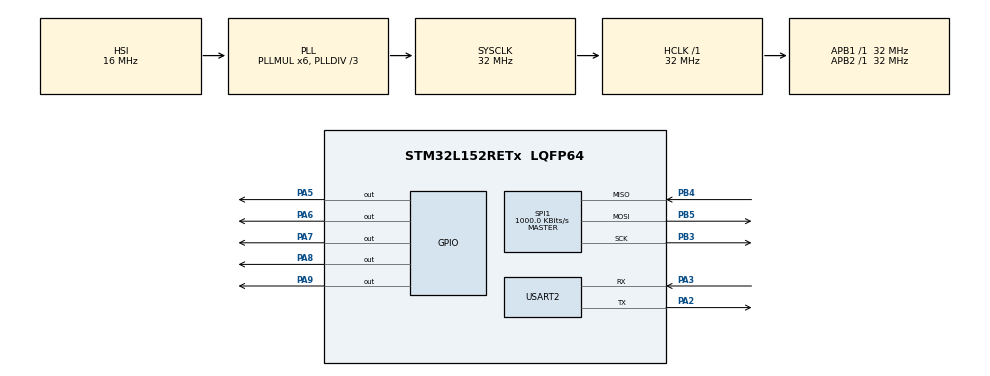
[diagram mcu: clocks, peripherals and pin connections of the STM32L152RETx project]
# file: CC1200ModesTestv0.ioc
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Mcu.Family=STM32L1
Mcu.Name=STM32L152RETx
Mcu.Package=LQFP64
NVIC.PriorityGroup=NVIC_PRIORITYGROUP_0
PA2.Mode=Asynchronous
PA2.Signal=USART2_TX
PA3.Mode=Asynchronous
PA3.Signal=USART2_RX
PA5.Signal=GPIO_Output
PA6.Signal=GPIO_Output
PA7.Signal=GPIO_Output
PA8.Signal=GPIO_Output
PA9.Signal=GPIO_Output
PB3.Mode=Full_Duplex_Master
PB3.Signal=SPI1_SCK
PB4.Mode=Full_Duplex_Master
PB4.Signal=SPI1_MISO
PB5.Mode=Full_Duplex_Master
PB5.Signal=SPI1_MOSI
ProjectManager.HeapSize=0x200
ProjectManager.StackSize=0x400
ProjectManager.TargetToolchain=MDK-ARM V5
RCC.48MHZClocksFreq_Value=48000000
RCC.AHBFreq_Value=32000000
RCC.APB1Freq_Value=32000000
RCC.APB1TimFreq_Value=32000000
RCC.APB2Freq_Value=32000000
RCC.APB2TimFreq_Value=32000000
RCC.HCLKFreq_Value=32000000
RCC.HSE_VALUE=8000000
RCC.HSI_VALUE=16000000
RCC.LSE_VALUE=32768
RCC.MSI_VALUE=2097000
RCC.PLLDIV=RCC_PLL_DIV3
RCC.PLLMUL=RCC_PLL_MUL6
RCC.RTCClockSelectionVirtual=RCC_RTCCLKSOURCE_LSE
RCC.SYSCLKFreq_VALUE=32000000
RCC.SYSCLKSource=RCC_SYSCLKSOURCE_PLLCLK
RCC.USBOutput=48000000
RCC.VCOOutputFreq_Value=96000000
SPI1.BaudRatePrescaler=SPI_BAUDRATEPRESCALER_32
SPI1.CalculateBaudRate=1000.0 KBits/s
SPI1.Direction=SPI_DIRECTION_2LINES
SPI1.Mode=SPI_MODE_MASTER
SPI1.VirtualType=VM_MASTER
USART2.VirtualMode=VM_ASYNC
board=NUCLEO-L152RE

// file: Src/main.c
/* USER CODE BEGIN Header */
/**
  ******************************************************************************
  * @file           : main.c
  * @brief          : Main program body
  ******************************************************************************
  ** This notice applies to any and all portions of this file
  * that are not between comment pairs USER CODE BEGIN and
  * USER CODE END. Other portions of this file, whether
  * inserted by the user or by software development tools
  * are owned by their respective copyright owners.
  *
  * COPYRIGHT(c) 2019 STMicroelectronics
  *
  * Redistribution and use in source and binary forms, with or without modification,
  * are permitted provided that the following conditions are met:
  *   1. Redistributions of source code must retain the above copyright notice,
  *      this list of conditions and the following disclaimer.
  *   2. Redistributions in binary form must reproduce the above copyright notice,
  *      this list of conditions and the following disclaimer in the documentation
  *      and/or other materials provided with the distribution.
  *   3. Neither the name of STMicroelectronics nor the names of its contributors
  *      may be used to endorse or promote products derived from this software
  *      without specific prior written permission.
  *
  * THIS SOFTWARE IS PROVIDED BY THE COPYRIGHT HOLDERS AND CONTRIBUTORS "AS IS"
  * AND ANY EXPRESS OR IMPLIED WARRANTIES, INCLUDING, BUT NOT LIMITED TO, THE
  * IMPLIED WARRANTIES OF MERCHANTABILITY AND FITNESS FOR A PARTICULAR PURPOSE ARE
  * DISCLAIMED. IN NO EVENT SHALL THE COPYRIGHT HOLDER OR CONTRIBUTORS BE LIABLE
  * FOR ANY DIRECT, INDIRECT, INCIDENTAL, SPECIAL, EXEMPLARY, OR CONSEQUENTIAL
  * DAMAGES (INCLUDING, BUT NOT LIMITED TO, PROCUREMENT OF SUBSTITUTE GOODS OR
  * SERVICES; LOSS OF USE, DATA, OR PROFITS; OR BUSINESS INTERRUPTION) HOWEVER
  * CAUSED AND ON ANY THEORY OF LIABILITY, WHETHER IN CONTRACT, STRICT LIABILITY,
  * OR TORT (INCLUDING NEGLIGENCE OR OTHERWISE) ARISING IN ANY WAY OUT OF THE USE
  * OF THIS SOFTWARE, EVEN IF ADVISED OF THE POSSIBILITY OF SUCH DAMAGE.
  *
  ******************************************************************************
  */
/* USER CODE END Header */

#include "main.h"

/* USER CODE BEGIN Includes */

#include "string.h"
#include "CC1200_reg.h"
#include "smartrf_CC1200.h"

/* USER CODE END Includes */

SPI_HandleTypeDef hspi1;

UART_HandleTypeDef huart2;

void SystemClock_Config(void);
static void MX_GPIO_Init(void);
static void MX_SPI1_Init(void);
static void MX_USART2_UART_Init(void);
/* USER CODE BEGIN PFP */

void trxRfSpiInterfaceInit(uint8_t prescalerValue);
uint8_t trx8BitRegAccess(uint8_t accessType, uint8_t addrByte, uint8_t *pData, int len);
uint8_t ReadWriteExtendedReg (uint8_t accessType, uint16_t address, uint8_t value);
uint8_t ReadWriteCommandReg (uint8_t address);
void CC1200_INIT(void);

/* USER CODE END PFP */

int main(void)
{

  /* MCU Configuration--------------------------------------------------------*/

  /* Reset of all peripherals, Initializes the Flash interface and the Systick. */
  HAL_Init();

  /* Configure the system clock */
  SystemClock_Config();

  /* Initialize all configured peripherals */
  MX_GPIO_Init();
  MX_SPI1_Init();
  MX_USART2_UART_Init();
  /* USER CODE BEGIN 2 */

	/* Start CC1200 SPI Test Harness
	 *
	 * Wiring:
	 * Reset -- D7 (PA8)
	 * CSN   -- D8 (PA9)
	 * SCLK  -- D3 (PB3)
	 * MOSI  -- D4 (PB5)
	 * MISO  -- D5 (PB4)
	 */

	//Set CS high
	HAL_GPIO_WritePin(GPIOA, GPIO_PIN_9, GPIO_PIN_SET);

	//Set reset high, low, high to begin
	HAL_GPIO_WritePin(GPIOA, GPIO_PIN_8, GPIO_PIN_SET);
	HAL_Delay(10);
	HAL_GPIO_WritePin(GPIOA, GPIO_PIN_8, GPIO_PIN_RESET);
	HAL_Delay(10);
	HAL_GPIO_WritePin(GPIOA, GPIO_PIN_8, GPIO_PIN_SET);
	HAL_Delay(10);

	///////////////////////////////////////////////////////////////////////
	// Start the test
	///////////////////////////////////////////////////////////////////////
	uint16_t address = 0x2F02;
	uint8_t value = 0xa;
	uint8_t readValue;
	char Msg1[100] = {0};
	char Msg2[100] = {0};

	//readValue = ReadWriteCommandReg(CC1200_SRES); // Flush tx fifo
	//HAL_Delay(500);

	snprintf((char *)Msg1, sizeof(Msg1), "\n\nSTARTING THE TRANSCEIVER TEST\n\n");
	HAL_UART_Transmit(&huart2, (uint8_t *) Msg1, sizeof(Msg1), 1);
	memcpy(Msg1, Msg2, 100);

	///////////////////////////////////////////////////////////////////////
  // Test reading and writing to a configuration register
	///////////////////////////////////////////////////////////////////////
	// Read initial reg value
  readValue = ReadWriteExtendedReg (CC1200_READ_BIT, address, value);

	snprintf((char *)Msg1, sizeof(Msg1), "\r\nTest: read from register 0x%x: 0x%x\r\n", address, readValue);
	HAL_UART_Transmit(&huart2, (uint8_t *) Msg1, sizeof(Msg1), 1);

	// Write to register
  readValue = ReadWriteExtendedReg (CC1200_WRITE_BIT, address, value);

	// Read new value
	readValue = ReadWriteExtendedReg (CC1200_READ_BIT, address, value);

	snprintf((char *)Msg1, sizeof(Msg1), "\r\nTest: read from register 0x%x after writing to the register: 0x%x\r\n", address, readValue);
	HAL_UART_Transmit(&huart2, (uint8_t *) Msg1, sizeof(Msg1), 1);

	///////////////////////////////////////////////////////////////////////
	// Test command strobes
	///////////////////////////////////////////////////////////////////////
  memcpy(Msg1, Msg2, 100);
	snprintf((char *)Msg1, sizeof(Msg1), "\r\nMode Test Expected Bytes: transmit 0x2F, idle 0x0F, receive 0x1F\r\n");
	HAL_UART_Transmit(&huart2, (uint8_t *) Msg1, sizeof(Msg1), 1);

	readValue = ReadWriteCommandReg(CC1200_SFTX); // Flush tx fifo
	HAL_Delay(10);
	readValue = ReadWriteCommandReg(CC1200_SFRX); // Flush RXfifo
	HAL_Delay(10);
	readValue = ReadWriteCommandReg(CC1200_SNOP); // Seems to need HAL_Delay and a NOP to produce the correct status bit
	//HAL_Delay(1000);

	readValue = 0;
	readValue = ReadWriteCommandReg(CC1200_SIDLE); // Idle
	HAL_Delay(10);
	readValue = ReadWriteCommandReg(CC1200_SNOP); // Seems to need HAL_Delay and a NOP to produce the correct status bit

	memcpy(Msg1, Msg2, 100);
	snprintf((char *)Msg1, sizeof(Msg1), "\r\nMode Test: switch to idle: 0x%02x\r\n", readValue);
	HAL_UART_Transmit(&huart2, (uint8_t *) Msg1, sizeof(Msg1), 1);

	readValue = 0;
	HAL_GPIO_WritePin(GPIOA, GPIO_PIN_7, GPIO_PIN_RESET);
	//HAL_GPIO_WritePin(GPIOA, GPIO_PIN_6, GPIO_PIN_RESET);
	readValue = ReadWriteCommandReg(CC1200_STX); // Transmit
	HAL_Delay(10);
	readValue = ReadWriteCommandReg(CC1200_SNOP); // Seems to need HAL_Delay and a NOP to produce the correct status bit

	memcpy(Msg1, Msg2, 100);
	snprintf((char *)Msg1, sizeof(Msg1), "\r\nMode Test: switch to transmit: 0x%02x\r\n", readValue);
	HAL_UART_Transmit(&huart2, (uint8_t *) Msg1, sizeof(Msg1), 1);

//	HAL_GPIO_WritePin(GPIOA, GPIO_PIN_7, GPIO_PIN_RESET);
//	readValue = 0;
//	readValue = ReadWriteCommandReg(CC1200_SRX); // Recieve
//	HAL_Delay(10);
//	readValue = ReadWriteCommandReg(CC1200_SNOP); // Seems to need HAL_Delay and a NOP to produce the correct status bit
//	memcpy(Msg1, Msg2, 100);
//	snprintf((char *)Msg1, sizeof(Msg1), "\r\nMode Test: receive status byte: 0x%x\r\n", readValue);
//	HAL_UART_Transmit(&huart2, (uint8_t *) Msg1, sizeof(Msg1), 1);

	///////////////////////////////////////////////////////////////////////
	// Configure all registers
	///////////////////////////////////////////////////////////////////////
	//HAL_Delay(100);
	CC1200_INIT();
	//HAL_Delay(100);

	// Check a register
	address = CC1200_AGC_CFG0;
  readValue = ReadWriteExtendedReg (CC1200_READ_BIT, address, value);

	memcpy(Msg1, Msg2, 100);
	snprintf((char *)Msg1, sizeof(Msg1), "\r\nTest: read from register 0x%x: 0x%x\r\n", address, readValue);
	HAL_UART_Transmit(&huart2, (uint8_t *) Msg1, sizeof(Msg1), 1);

	// Check a register
	address = CC1200_AGC_CFG1;
	uint8_t randRead = ReadWriteExtendedReg (CC1200_READ_BIT, address, value);

	memcpy(Msg1, Msg2, 100);
	snprintf((char *)Msg1, sizeof(Msg1), "\r\nTest: read from register 0x%x: 0x%x\r\n", address, randRead);
	HAL_UART_Transmit(&huart2, (uint8_t *) Msg1, sizeof(Msg1), 1);

	///////////////////////////////////////////////////////////////////////
	// Test: send a packet continuously and receive with the dev board
	///////////////////////////////////////////////////////////////////////

	readValue = 0;
	//address = 0x00;
	address = CC1200_TXFIFO;
	uint32_t sendAmt = 100;
	for(int i = 0; i < sendAmt; i++)
	{
		ReadWriteExtendedReg(CC1200_WRITE_BIT, address, i);
		HAL_Delay(1);

		readValue = ReadWriteCommandReg(CC1200_SNOP); // Seems to need HAL_Delay and a NOP to produce the correct status bit
		memcpy(Msg1, Msg2, 100);
		snprintf((char *)Msg1, sizeof(Msg1), "\nCommand strobe state: 0x%02x\n", readValue);
		HAL_UART_Transmit(&huart2, (uint8_t *) Msg1, sizeof(Msg1), 1);
		if (readValue == 0x0f)
		{
			HAL_Delay(1);
			ReadWriteCommandReg(CC1200_STX);
			HAL_Delay(1);
		}
	}

	readValue = ReadWriteExtendedReg(CC1200_READ_BIT, address, readValue);
	memcpy(Msg1, Msg2, 100);
	snprintf((char *)Msg1, sizeof(Msg1), "\nValue at register 0x%02x should be %u, is: %u\n", address, sendAmt - 1 , readValue);
	HAL_UART_Transmit(&huart2, (uint8_t *) Msg1, sizeof(Msg1), 1);

	memcpy(Msg1, Msg2, 100);
	snprintf((char *)Msg1, sizeof(Msg1), "\n\nEND OF TRANSCEIVER TEST %x\n", readValue);
	HAL_UART_Transmit(&huart2, (uint8_t *) Msg1, sizeof(Msg1), 1);
  /* USER CODE END 2 */

  /* Infinite loop */
  while (1)
  {

  }
}

void SystemClock_Config(void)
{
  RCC_OscInitTypeDef RCC_OscInitStruct = {0};
  RCC_ClkInitTypeDef RCC_ClkInitStruct = {0};

  /**Configure the main internal regulator output voltage
  */
  __HAL_PWR_VOLTAGESCALING_CONFIG(PWR_REGULATOR_VOLTAGE_SCALE1);
  /**Initializes the CPU, AHB and APB busses clocks
  */
  RCC_OscInitStruct.OscillatorType = RCC_OSCILLATORTYPE_HSI;
  RCC_OscInitStruct.HSIState = RCC_HSI_ON;
  RCC_OscInitStruct.HSICalibrationValue = RCC_HSICALIBRATION_DEFAULT;
  RCC_OscInitStruct.PLL.PLLState = RCC_PLL_ON;
  RCC_OscInitStruct.PLL.PLLSource = RCC_PLLSOURCE_HSI;
  RCC_OscInitStruct.PLL.PLLMUL = RCC_PLL_MUL6;
  RCC_OscInitStruct.PLL.PLLDIV = RCC_PLL_DIV3;
  if (HAL_RCC_OscConfig(&RCC_OscInitStruct) != HAL_OK)
  {
    Error_Handler();
  }
  /**Initializes the CPU, AHB and APB busses clocks
  */
  RCC_ClkInitStruct.ClockType = RCC_CLOCKTYPE_HCLK|RCC_CLOCKTYPE_SYSCLK
                              |RCC_CLOCKTYPE_PCLK1|RCC_CLOCKTYPE_PCLK2;
  RCC_ClkInitStruct.SYSCLKSource = RCC_SYSCLKSOURCE_PLLCLK;
  RCC_ClkInitStruct.AHBCLKDivider = RCC_SYSCLK_DIV1;
  RCC_ClkInitStruct.APB1CLKDivider = RCC_HCLK_DIV1;
  RCC_ClkInitStruct.APB2CLKDivider = RCC_HCLK_DIV1;

  if (HAL_RCC_ClockConfig(&RCC_ClkInitStruct, FLASH_LATENCY_1) != HAL_OK)
  {
    Error_Handler();
  }
}

static void MX_SPI1_Init(void)
{

  /* SPI1 parameter configuration*/
  hspi1.Instance = SPI1;
  hspi1.Init.Mode = SPI_MODE_MASTER;
  hspi1.Init.Direction = SPI_DIRECTION_2LINES;
  hspi1.Init.DataSize = SPI_DATASIZE_8BIT;
  hspi1.Init.CLKPolarity = SPI_POLARITY_LOW;
  hspi1.Init.CLKPhase = SPI_PHASE_1EDGE;
  hspi1.Init.NSS = SPI_NSS_SOFT;
  hspi1.Init.BaudRatePrescaler = SPI_BAUDRATEPRESCALER_32;
  hspi1.Init.FirstBit = SPI_FIRSTBIT_MSB;
  hspi1.Init.TIMode = SPI_TIMODE_DISABLE;
  hspi1.Init.CRCCalculation = SPI_CRCCALCULATION_DISABLE;
  hspi1.Init.CRCPolynomial = 10;
  if (HAL_SPI_Init(&hspi1) != HAL_OK)
  {
    Error_Handler();
  }

}

static void MX_USART2_UART_Init(void)
{

  huart2.Instance = USART2;
  huart2.Init.BaudRate = 115200;
  huart2.Init.WordLength = UART_WORDLENGTH_8B;
  huart2.Init.StopBits = UART_STOPBITS_1;
  huart2.Init.Parity = UART_PARITY_NONE;
  huart2.Init.Mode = UART_MODE_TX_RX;
  huart2.Init.HwFlowCtl = UART_HWCONTROL_NONE;
  huart2.Init.OverSampling = UART_OVERSAMPLING_16;
  if (HAL_UART_Init(&huart2) != HAL_OK)
  {
    Error_Handler();
  }

}

static void MX_GPIO_Init(void)
{
  GPIO_InitTypeDef GPIO_InitStruct = {0};

  /* GPIO Ports Clock Enable */
  __HAL_RCC_GPIOA_CLK_ENABLE();
  __HAL_RCC_GPIOB_CLK_ENABLE();

  /*Configure GPIO pin Output Level */
  HAL_GPIO_WritePin(GPIOA, GPIO_PIN_5|GPIO_PIN_6|GPIO_PIN_7|GPIO_PIN_8
                          |GPIO_PIN_9, GPIO_PIN_RESET);

  /*Configure GPIO pins : PA5 PA6 PA7 PA8
                           PA9 */
  GPIO_InitStruct.Pin = GPIO_PIN_5|GPIO_PIN_6|GPIO_PIN_7|GPIO_PIN_8
                          |GPIO_PIN_9;
  GPIO_InitStruct.Mode = GPIO_MODE_OUTPUT_PP;
  GPIO_InitStruct.Pull = GPIO_NOPULL;
  GPIO_InitStruct.Speed = GPIO_SPEED_FREQ_LOW;
  HAL_GPIO_Init(GPIOA, &GPIO_InitStruct);

}

/* USER CODE BEGIN 4 */

uint8_t ReadWriteExtendedReg (uint8_t accessType, uint16_t address, uint8_t value)
{
	// Chip select low
	HAL_GPIO_WritePin(GPIOA, GPIO_PIN_9, GPIO_PIN_RESET);

	uint8_t addrHI = address>>8;
	uint8_t addrLO = (uint8_t) address;
	uint8_t readValue = 0;

	if(accessType) { 	// Read from address

		if (addrHI)
		{
			addrHI |= CC1200_READ_BIT;
			HAL_SPI_Transmit(&hspi1,&addrHI, 1, 10);	// Access address
			while (HAL_SPI_GetState(&hspi1) != HAL_SPI_STATE_READY){};
			HAL_SPI_Transmit(&hspi1,&addrLO, 1, 10);
		}
		else
		{
			addrLO |= CC1200_READ_BIT;
			HAL_SPI_Transmit(&hspi1,&addrLO, 1, 10);
			while (HAL_SPI_GetState(&hspi1) != HAL_SPI_STATE_READY){};
		}
		HAL_SPI_Transmit(&hspi1,0x0, 1, 10); // Transmit 0 for read
		HAL_SPI_Receive(&hspi1, &readValue, 1, 10); // Read value

	} else { // Write to address

		addrHI |= CC1200_WRITE_BIT;

		if (addrHI)
		{
			HAL_SPI_Transmit(&hspi1,&addrHI, 1, 10);	// Access address
			while (HAL_SPI_GetState(&hspi1) != HAL_SPI_STATE_READY){};
		}
		HAL_SPI_Transmit(&hspi1,&addrLO, 1, 10);
		while (HAL_SPI_GetState(&hspi1) != HAL_SPI_STATE_READY){};

		HAL_SPI_Transmit(&hspi1, &value, 1, 10);		// Write value
	}

	// Chip select high
	HAL_GPIO_WritePin(GPIOA, GPIO_PIN_9, GPIO_PIN_SET);

	return readValue;
}

uint8_t ReadWriteCommandReg (uint8_t address)
{
	// Chip select low
	HAL_GPIO_WritePin(GPIOA, GPIO_PIN_9, GPIO_PIN_RESET);

  uint8_t readValue  = 0;

	HAL_SPI_Transmit(&hspi1,&address, 1, 10);
	while (HAL_SPI_GetState(&hspi1) != HAL_SPI_STATE_READY){};
	HAL_SPI_Receive(&hspi1, &readValue, 1, 10);

	// Chip select high
	HAL_GPIO_WritePin(GPIOA, GPIO_PIN_9, GPIO_PIN_SET);

	return readValue;
}

void CC1200_INIT(void)
{
	ReadWriteExtendedReg(CC1200_WRITE_BIT, CC1200_IOCFG2, SMARTRF_SETTING_IOCFG2);
	ReadWriteExtendedReg(CC1200_WRITE_BIT, CC1200_DEVIATION_M, SMARTRF_SETTING_DEVIATION_M);
	ReadWriteExtendedReg(CC1200_WRITE_BIT, CC1200_MODCFG_DEV_E, SMARTRF_SETTING_MODCFG_DEV_E);
	ReadWriteExtendedReg(CC1200_WRITE_BIT, CC1200_DCFILT_CFG, SMARTRF_SETTING_DCFILT_CFG);
	ReadWriteExtendedReg(CC1200_WRITE_BIT, CC1200_PREAMBLE_CFG0, SMARTRF_SETTING_PREAMBLE_CFG0);
	ReadWriteExtendedReg(CC1200_WRITE_BIT, CC1200_IQIC, SMARTRF_SETTING_IQIC);
	ReadWriteExtendedReg(CC1200_WRITE_BIT, CC1200_CHAN_BW, SMARTRF_SETTING_CHAN_BW);
	ReadWriteExtendedReg(CC1200_WRITE_BIT, CC1200_MDMCFG1, SMARTRF_SETTING_MDMCFG1);
	ReadWriteExtendedReg(CC1200_WRITE_BIT, CC1200_MDMCFG0, SMARTRF_SETTING_MDMCFG0);
	ReadWriteExtendedReg(CC1200_WRITE_BIT, CC1200_SYMBOL_RATE2, SMARTRF_SETTING_SYMBOL_RATE2);
	ReadWriteExtendedReg(CC1200_WRITE_BIT, CC1200_SYMBOL_RATE1, SMARTRF_SETTING_SYMBOL_RATE1);
	ReadWriteExtendedReg(CC1200_WRITE_BIT, CC1200_SYMBOL_RATE0, SMARTRF_SETTING_SYMBOL_RATE0);
	ReadWriteExtendedReg(CC1200_WRITE_BIT, CC1200_AGC_REF, SMARTRF_SETTING_AGC_REF);
	ReadWriteExtendedReg(CC1200_WRITE_BIT, CC1200_AGC_CS_THR, SMARTRF_SETTING_AGC_CS_THR);
	ReadWriteExtendedReg(CC1200_WRITE_BIT, CC1200_AGC_CFG1, SMARTRF_SETTING_AGC_CFG1);
	ReadWriteExtendedReg(CC1200_WRITE_BIT, CC1200_AGC_CFG0, SMARTRF_SETTING_AGC_CFG0);
	ReadWriteExtendedReg(CC1200_WRITE_BIT, CC1200_FIFO_CFG, SMARTRF_SETTING_FIFO_CFG);
	ReadWriteExtendedReg(CC1200_WRITE_BIT, CC1200_FS_CFG, SMARTRF_SETTING_FS_CFG);
	ReadWriteExtendedReg(CC1200_WRITE_BIT, CC1200_PKT_CFG2, SMARTRF_SETTING_PKT_CFG2);
	ReadWriteExtendedReg(CC1200_WRITE_BIT, CC1200_PKT_CFG0, SMARTRF_SETTING_PKT_CFG0);
	ReadWriteExtendedReg(CC1200_WRITE_BIT, CC1200_PKT_LEN, SMARTRF_SETTING_PKT_LEN);
	ReadWriteExtendedReg(CC1200_WRITE_BIT, CC1200_IF_MIX_CFG, SMARTRF_SETTING_IF_MIX_CFG);
	ReadWriteExtendedReg(CC1200_WRITE_BIT, CC1200_FREQOFF_CFG, SMARTRF_SETTING_FREQOFF_CFG);
	ReadWriteExtendedReg(CC1200_WRITE_BIT, CC1200_MDMCFG2, SMARTRF_SETTING_MDMCFG2);
	ReadWriteExtendedReg(CC1200_WRITE_BIT, CC1200_FREQ2, SMARTRF_SETTING_FREQ2);
	ReadWriteExtendedReg(CC1200_WRITE_BIT, CC1200_FREQ1, SMARTRF_SETTING_FREQ1);
	ReadWriteExtendedReg(CC1200_WRITE_BIT, CC1200_FREQ0, SMARTRF_SETTING_FREQ0);
	ReadWriteExtendedReg(CC1200_WRITE_BIT, CC1200_IF_ADC1, SMARTRF_SETTING_IF_ADC1);
	ReadWriteExtendedReg(CC1200_WRITE_BIT, CC1200_IF_ADC0, SMARTRF_SETTING_IF_ADC0);
	ReadWriteExtendedReg(CC1200_WRITE_BIT, CC1200_FS_DIG1, SMARTRF_SETTING_FS_DIG1);
	ReadWriteExtendedReg(CC1200_WRITE_BIT, CC1200_FS_DIG0, SMARTRF_SETTING_FS_DIG0);
	ReadWriteExtendedReg(CC1200_WRITE_BIT, CC1200_FS_CAL1, SMARTRF_SETTING_FS_CAL1);
	ReadWriteExtendedReg(CC1200_WRITE_BIT, CC1200_FS_CAL0, SMARTRF_SETTING_FS_CAL0);
	ReadWriteExtendedReg(CC1200_WRITE_BIT, CC1200_FS_DIVTWO, SMARTRF_SETTING_FS_DIVTWO);
	ReadWriteExtendedReg(CC1200_WRITE_BIT, CC1200_FS_DSM0, SMARTRF_SETTING_FS_DSM0);
	ReadWriteExtendedReg(CC1200_WRITE_BIT, CC1200_FS_DVC0, SMARTRF_SETTING_FS_DVC0);
	ReadWriteExtendedReg(CC1200_WRITE_BIT, CC1200_FS_PFD, SMARTRF_SETTING_FS_PFD);
	ReadWriteExtendedReg(CC1200_WRITE_BIT, CC1200_FS_PRE, SMARTRF_SETTING_FS_PRE);
	ReadWriteExtendedReg(CC1200_WRITE_BIT, CC1200_FS_REG_DIV_CML, SMARTRF_SETTING_FS_REG_DIV_CML);
	ReadWriteExtendedReg(CC1200_WRITE_BIT, CC1200_FS_SPARE, SMARTRF_SETTING_FS_SPARE);
	ReadWriteExtendedReg(CC1200_WRITE_BIT, CC1200_FS_VCO0, SMARTRF_SETTING_FS_VCO0);
	ReadWriteExtendedReg(CC1200_WRITE_BIT, CC1200_XOSC5, SMARTRF_SETTING_XOSC5);
	ReadWriteExtendedReg(CC1200_WRITE_BIT, CC1200_XOSC1, SMARTRF_SETTING_XOSC1);
}

////////////////////////////// TI Reference Code, Not currently being used/////////////////////
static void trxReadWriteBurstSingle(uint8_t addr, uint8_t *pData, int len)
{
    int i;
    uint8_t dummy;
    /* Communicate len number of bytes: if RX - the procedure sends 0x00 to push bytes from slave*/
    if (addr & CC1200_READ_BIT) {
        if (addr & CC1200_BURST_BIT) {
            for (i = 0; i < len; i++) {
								HAL_SPI_Transmit(&hspi1,0x0, 1, 10);
                while (HAL_SPI_GetState(&hspi1) != HAL_SPI_STATE_READY);
                HAL_SPI_Receive(&hspi1, pData, 1, 10);
                pData++;

            }
        } else {
						HAL_SPI_Transmit(&hspi1,0x0, 1, 10);
            while (HAL_SPI_GetState(&hspi1) != HAL_SPI_STATE_READY);
            HAL_SPI_Receive(&hspi1, pData, 1, 10);
        }
    } else {
        if (addr & CC1200_BURST_BIT) {
            /* Communicate len number of bytes: if TX - the procedure doesn't overwrite pData */
            for (i = 0; i < len; i++) {
								HAL_SPI_Transmit(&hspi1,pData, 1, 10);
                while (HAL_SPI_GetState(&hspi1) != HAL_SPI_STATE_READY);
								HAL_SPI_Receive(&hspi1, &dummy, 1, 10);
                pData++;
            }
        } else {
						HAL_SPI_Transmit(&hspi1,pData, 1, 10);
            while (HAL_SPI_GetState(&hspi1) != HAL_SPI_STATE_READY);
						HAL_SPI_Receive(&hspi1, &dummy, 1, 10);
        }
    }
}

uint8_t trx8BitRegAccess(uint8_t accessType, uint8_t addrByte, uint8_t *pData, int len)
{
	uint8_t addr;
	uint8_t readValue  = 0;
	addr = accessType | addrByte;

	HAL_GPIO_WritePin(GPIOA, GPIO_PIN_9, GPIO_PIN_RESET);

	HAL_SPI_Transmit(&hspi1,&addr, 1, 10);
	while (HAL_SPI_GetState(&hspi1) != HAL_SPI_STATE_READY){};
	HAL_SPI_Receive(&hspi1, &readValue, 1, 10);
	trxReadWriteBurstSingle(accessType | addrByte, pData, len);

	HAL_GPIO_WritePin(GPIOA, GPIO_PIN_9, GPIO_PIN_SET);

	return (readValue);
}

/* USER CODE END 4 */

void Error_Handler(void)
{
}

/************************ (C) COPYRIGHT STMicroelectronics *****END OF FILE****/
